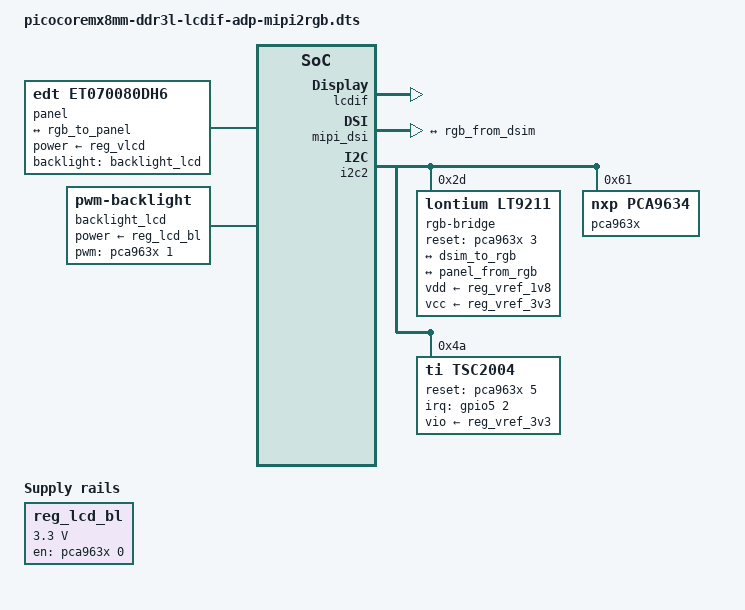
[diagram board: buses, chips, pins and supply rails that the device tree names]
/*
 * Copyright (C) 2021 F&S Elektronik Systeme GmbH
 *
 * This program is free software; you can redistribute it and/or modify
 * it under the terms of the GNU General Public License version 2 as
 * published by the Free Software Foundation.
 */

#define CONFIG_PICOCOREMX8MX_MIPI_DSI

#include "picocoremx8mm-ddr3l.dts"

/ {
	regulators {
		reg_lcd_bl: backlight_lcd {
			compatible = "regulator-fixed";
			regulator-name = "lcd-bl";
			gpio = <&pca963x 0 0>;
			regulator-min-microvolt = <3300000>;
			regulator-max-microvolt = <3300000>;
			enable-active-high;
		};
	};

	/* Simple panel driver */
	panel: panel {
		compatible = "edt,et070080dh6";
		backlight = <&backlight_lcd>;
		power-supply = <&reg_vlcd>;

		port@0 {
			panel_from_rgb: endpoint {
				remote-endpoint = <&rgb_to_panel>;
			};
		};
	};

	backlight_lcd: backlight_lcd {
		compatible = "pwm-backlight";
		pwms = <&pca963x 1 640000 0>;
		power-supply = <&reg_lcd_bl>;
		brightness-levels = <0 1 5 10 18 28 41 56
				     73 92 113 137 163 192 222 255>;
		default-brightness-level = <14>;
	};
};

&lcdif {
	status = "okay";
	/* important to overwrite max-res otherwise DRM lcdif will fail to find
	 * a suitable connector.
	 */
	max-res = <4096>, <4096>;
};

&mipi_dsi {
	status = "okay";

	bus-fmt = <0x100a>;

	port@1 {
		reg = <1>;
		dsim_to_rgb: endpoint {
			remote-endpoint = <&rgb_from_dsim>;
			data-lanes = <0 1 2 3>;
			attach-bridge;
		};
	};
};

&i2c2 {
    /* mipi to RGB controller  */
	rgb-bridge@2d {
		#address-cells = <1>;
		#size-cells = <0>;
	      	compatible = "lontium,lt9211";
//		lt,debug-pattern;
		/* 0 = LVDS, 1 = MIPI, 2 = TTL */
		rx-source = /bits/ 8 <1>;
		/* optional: normally taken from simple panel display but can be
		 * overwritten by bus-fmt flag: 6 = RGB666, 8 = RGB888
		 */
		bus-fmt = /bits/ 8 <8>;
		/* PCLK will inverted because dotclock polarity from sec_mipi_dsim-imx
		 * is set to neg edge. The display needs dotclock pos edge therefore
		 * we inverte dotclock polarity.
		 */
		pclk-invert;
		reg = <0x2d>;
		reset-gpios = <&pca963x 3 GPIO_ACTIVE_HIGH>;
		vdd-supply = <&reg_vref_1v8>;
		vcc-supply = <&reg_vref_3v3>;

		ports {
			#address-cells = <1>;
			#size-cells = <0>;

			port@0 {
				reg = <0>;

				rgb_from_dsim: endpoint {
					remote-endpoint = <&dsim_to_rgb>;
				};
			};

			port@1 {
				reg = <1>;

				rgb_to_panel: endpoint {
					remote-endpoint = <&panel_from_rgb>;
				};
			};
		};
    };

	pca963x: pca9634@61 {
			compatible = "nxp,pca9634";
			reg = <0x61>;
			nxp,totem-pole;
			#address-cells = <1>;
			#size-cells = <0>;
			#pwm-cells = <3>;
			#gpio-cells = <2>;
			led@0 {
				reg = <0>;
				label = "BL_ON";
				type = "GPIO";
				active-high;
			};
			led@1 {
				reg = <1>;
				label = "BL_PWM";
				type = "PWM";
				active-low;
			};
			led@2 {
				reg = <2>;
				label = "ROTATE";
				type = "GPIO";
				active-high;
			};
			led@3 {
				reg = <3>;
				label = "MIPI_RST";
				type = "GPIO";
				active-high;
				default-on;		/* or: keep-value */
			};
			led@4 {
				reg = <4>;
				label = "4-unused";
				type = "LED";
				active-low;
			};
			led@5 {
				reg = <5>;
				label = "TOUCH_RST";
				type = "GPIO";
				active-high;
				default-on;		/* or: keep-value */
			};
			led@6 {
				reg = <6>;
				label = "6-unused";
				type = "LED";
				active-low;
			};
			led@7 {
				reg = <7>;
				label = "7-unused";
				type = "LED";
				active-low;
			};
		};

	tsc2004@4a {
		compatible = "ti,tsc2004";
		reg = <0x4a>;
		vio-supply = <&reg_vref_3v3>;
		reset-gpios = <&pca963x 5 GPIO_ACTIVE_HIGH>;
		interrupts-extended = <&gpio5 2 IRQ_TYPE_EDGE_FALLING>;
		touchscreen-fuzz-x = <4>;
		touchscreen-fuzz-y = <7>;
		touchscreen-fuzz-pressure = <20>;
		touchscreen-size-x = <4096>;
		touchscreen-size-y = <4096>;
		touchscreen-max-pressure = <2048>;
		touchscreen-inverted-y;
		ti,x-plate-ohms = <280>;
		ti,pre-charge-time = <4>;
		ti,sense-time-sel = <3>;
	};
};
